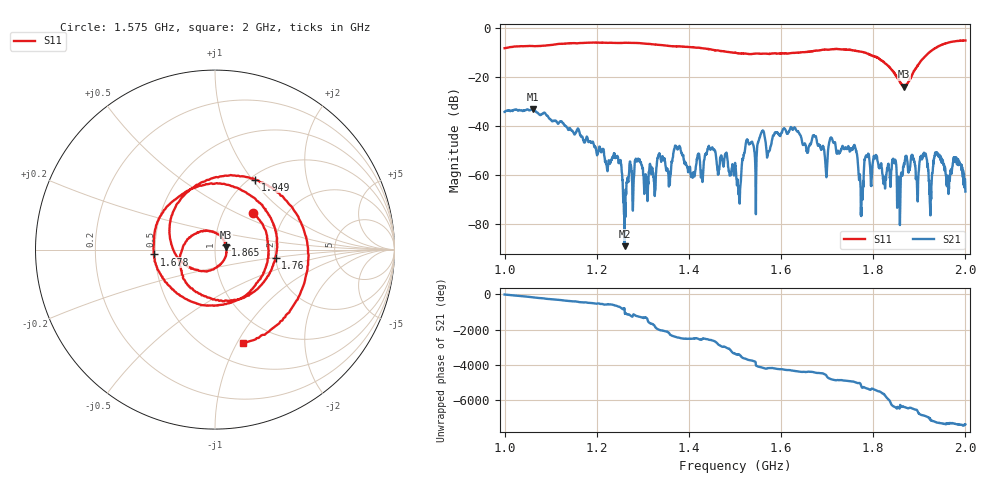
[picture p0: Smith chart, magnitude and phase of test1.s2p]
# HZ S RI R 50
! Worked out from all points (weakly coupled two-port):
!   2020 points, 1 GHz to 2 GHz, reference 50 ohm
!   highest |S21| = -33.25 dB at 1.062 GHz (marker M1); lowest = -88.9 dB at 1.261 GHz (marker M2)
!   lowest |S11| = -24.0 dB at 1.866 GHz (marker M3), VSWR 1.13, Z = 56.6 + j1.5 ohm
!   |S11| at or under -10 dB: 1.49 GHz to 1.645 GHz (155 MHz wide, 9.89 % of centre); 1.78 GHz to 1.922 GHz (142.4 MHz wide, 7.69 % of centre)
!   S12 and S22 are empty: the file has one direction only
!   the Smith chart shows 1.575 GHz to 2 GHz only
!   S11 on the Smith chart (normalised r, x): 1.575 GHz: 1.37, +0.61; 1.678 GHz: 0.49, -0.03; 1.76 GHz: 2.00, -0.20; 1.865 GHz: 1.12, +0.06; 1.949 GHz: 1.06, +1.03; 2 GHz: 0.71, -1.06
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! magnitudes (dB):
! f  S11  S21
! 1 GHz  -8.3  -34.3
! 1.062 GHz  -7.5  -33.2
! 1.167 GHz  -6.2  -44.4
! 1.247 GHz  -6.2  -55.0
! 1.261 GHz  -6.1  -88.9
! 1.287 GHz  -6.2  -54.3
! 1.333 GHz  -7.0  -52.1
! 1.5 GHz  -10.2  -55.0
! 1.575 GHz  -10.7  -50.2
! 1.667 GHz  -9.6  -45.8
! 1.678 GHz  -9.3  -46.0
! 1.76 GHz  -9.4  -48.3
! 1.774 GHz  -9.8  -73.2
! 1.786 GHz  -10.5  -52.2
! 1.834 GHz  -15.7  -56.5
! 1.865 GHz  -23.8  -56.7
! 1.866 GHz  -24.0  -55.7
! 1.912 GHz  -11.8  -51.7
! 1.924 GHz  -9.6  -76.4
! 1.949 GHz  -7.0  -53.4
! 2 GHz  -5.3  -63.3
! 2 GHz  -5.2  -66.7
